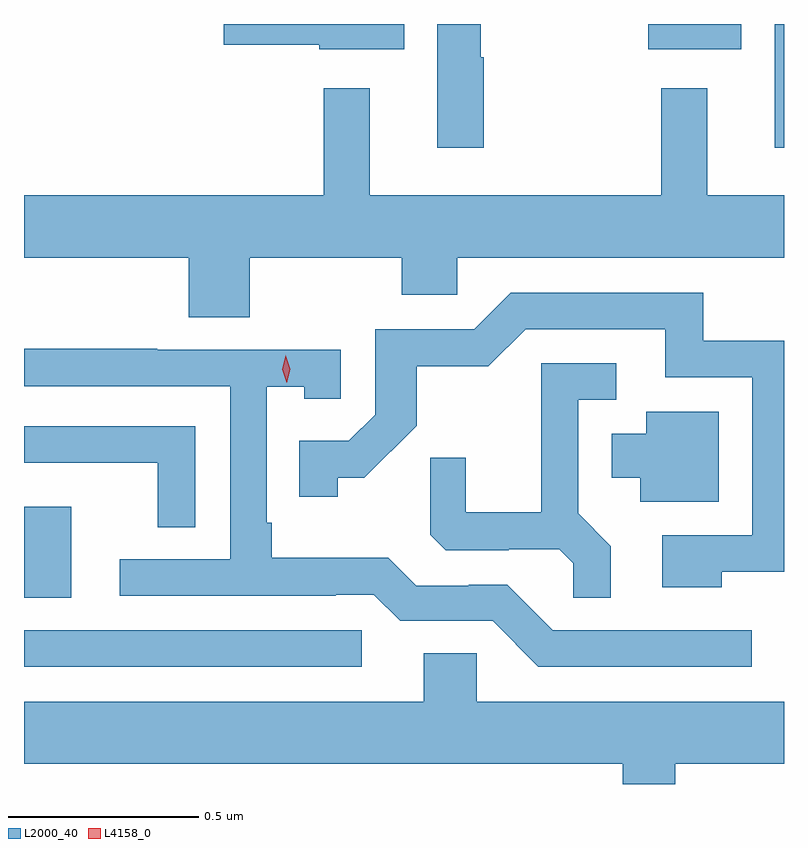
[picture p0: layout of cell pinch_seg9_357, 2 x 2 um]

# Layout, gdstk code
import gdstk
lib = gdstk.Library(unit=1e-6, precision=1e-09)
def R(c, l, rs):  # rectangles x0, y0, x1, y1
    for r in rs: c.add(gdstk.rectangle(r[:2], r[2:], *l))
def P(c, l, *ps):  # polygons
    for p in ps: c.add(gdstk.Polygon(p, *l))
L2000_40 = (2000, 40)
L4158_0 = (4158, 0)

pinch_seg9_357 = lib.new_cell('pinch_seg9_357')
R(pinch_seg9_357, L2000_40, [(540.879,1191.348,541.768,1191.444), (540.879,1191.529,541.003,1191.768), (542.855,1192.713,542.879,1193.039), (542.522,1192.973,542.767,1193.039)])
P(pinch_seg9_357, L2000_40, [(541.879,1193.039),(541.404,1193.039),(541.404,1192.984),(541.656,1192.984),(541.656,1192.973),(541.879,1192.973)],
  [(542.089,1192.952),(542.081,1192.952),(542.081,1193.039),(541.967,1193.039),(541.967,1192.713),(542.089,1192.713)],
  [(541.473,1192.424),(541.873,1192.424),(541.873,1192.326),(542.019,1192.326),(542.019,1192.424),(542.879,1192.424),(542.879,1192.588),(542.677,1192.588),(542.677,1192.87),(542.556,1192.87),(542.556,1192.588),(541.789,1192.588),(541.789,1192.87),(541.668,1192.87),(541.668,1192.588),(540.879,1192.588),(540.879,1192.424),(541.313,1192.424),(541.313,1192.267),(541.473,1192.267)],
  [(542.715,1191.597),(542.879,1191.597),(542.879,1192.206),(542.666,1192.206),(542.666,1192.332),(542.16,1192.332),(542.064,1192.236),(541.803,1192.236),(541.803,1192.011),(541.734,1191.942),(541.603,1191.942),(541.603,1191.795),(541.704,1191.795),(541.704,1191.845),(541.774,1191.845),(541.912,1191.982),(541.912,1192.138),(542.101,1192.138),(542.199,1192.236),(542.567,1192.236),(542.567,1192.11),(542.796,1192.11),(542.796,1191.693),(542.559,1191.693),(542.559,1191.557),(542.715,1191.557)],
  [(542.794,1191.444),(542.271,1191.444),(542.151,1191.564),(542.05,1191.564),(542.05,1191.561),(541.911,1191.561),(541.838,1191.634),(541.531,1191.634),(541.531,1191.727),(541.518,1191.727),(541.518,1192.085),(541.617,1192.085),(541.617,1192.053),(541.713,1192.053),(541.713,1192.182),(541.229,1192.182),(541.229,1192.185),(540.879,1192.185),(540.879,1192.086),(541.422,1192.086),(541.422,1191.63),(541.131,1191.63),(541.131,1191.534),(541.7,1191.534),(541.7,1191.537),(541.8,1191.537),(541.869,1191.468),(542.112,1191.468),(542.232,1191.348),(542.794,1191.348)],
  [(542.423,1191.665),(542.337,1191.751),(542.337,1192.05),(542.437,1192.05),(542.437,1192.146),(542.24,1192.146),(542.24,1191.754),(542.042,1191.754),(542.042,1191.897),(541.948,1191.897),(541.948,1191.695),(541.989,1191.654),(542.154,1191.654),(542.154,1191.657),(542.288,1191.657),(542.325,1191.62),(542.325,1191.529),(542.423,1191.529)],
  [(542.707,1192.018),(542.516,1192.018),(542.516,1191.961),(542.426,1191.961),(542.426,1191.845),(542.501,1191.845),(542.501,1191.782),(542.707,1191.782)],
  [(541.329,1191.981),(540.879,1191.981),(540.879,1191.885),(541.231,1191.885),(541.231,1191.715),(541.329,1191.715)],
  [(542.593,1191.092),(542.879,1191.092),(542.879,1191.256),(542.07,1191.256),(542.07,1191.383),(541.931,1191.383),(541.931,1191.256),(540.879,1191.256),(540.879,1191.092),(542.454,1191.092),(542.454,1191.039),(542.593,1191.039)])
P(pinch_seg9_357, L4158_0, [(541.57,1192.095),(541.559,1192.13),(541.568,1192.166),(541.568,1192.167),(541.568,1192.166),(541.579,1192.131),(541.571,1192.095),(541.571,1192.095)])

lib.write_gds('pinch_seg9_357.gds')
